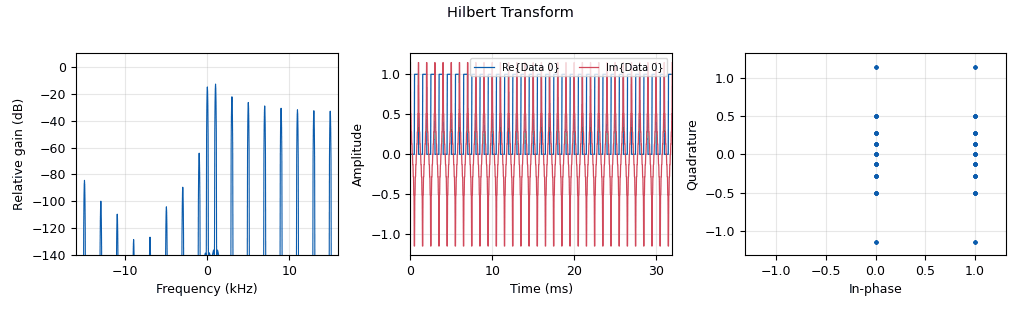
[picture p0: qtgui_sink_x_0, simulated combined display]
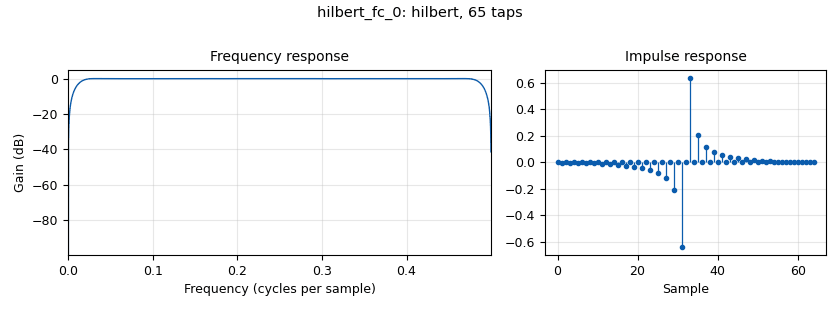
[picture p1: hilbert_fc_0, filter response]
options:
  parameters:
    generate_options: qt_gui
    id: analytic_signal
    output_language: python
    title: Analytic Signal
  states: {}

blocks:
- name: samp_rate
  id: variable
  parameters:
    value: '32000'
  states: {}
- name: waveform
  id: variable_qtgui_chooser
  parameters:
    label: Waveform
    labels: '["Square", "Triangle", "Sawtooth", "Cosine", "Sine", "Constant"]'
    num_opts: '0'
    options: '[0, 1, 2, 3, 4, 5]'
    orient: Qt.QHBoxLayout
    type: int
    value: '0'
    widget: radio_buttons
  states: {}
- name: analog_sig_source_x_0
  id: analog_sig_source_x
  parameters:
    amp: '1'
    freq: '1000'
    offset: '0'
    phase: '0'
    samp_rate: samp_rate
    type: float
    waveform: analog.GR_SQR_WAVE
  states: {}
- name: analog_sig_source_x_0_0
  id: analog_sig_source_x
  parameters:
    amp: '1'
    freq: '1000'
    offset: '0'
    phase: '0'
    samp_rate: samp_rate
    type: float
    waveform: analog.GR_TRI_WAVE
  states: {}
- name: analog_sig_source_x_0_0_0
  id: analog_sig_source_x
  parameters:
    amp: '1'
    freq: '1000'
    offset: '0'
    phase: '0'
    samp_rate: samp_rate
    type: float
    waveform: analog.GR_SAW_WAVE
  states: {}
- name: analog_sig_source_x_0_0_0_0
  id: analog_sig_source_x
  parameters:
    amp: '1'
    freq: '1000'
    offset: '0'
    phase: '0'
    samp_rate: samp_rate
    type: float
    waveform: analog.GR_COS_WAVE
  states: {}
- name: analog_sig_source_x_0_0_0_0_0
  id: analog_sig_source_x
  parameters:
    amp: '1'
    freq: '1000'
    offset: '0'
    phase: '0'
    samp_rate: samp_rate
    type: float
    waveform: analog.GR_CONST_WAVE
  states: {}
- name: analog_sig_source_x_0_0_0_0_0_0
  id: analog_sig_source_x
  parameters:
    amp: '1'
    freq: '1000'
    offset: '0'
    phase: '0'
    samp_rate: samp_rate
    type: float
    waveform: analog.GR_SIN_WAVE
  states: {}
- name: blocks_selector_0
  id: blocks_selector
  parameters:
    enabled: 'True'
    input_index: waveform
    num_inputs: '6'
    num_outputs: '1'
    output_index: '0'
    type: float
  states: {}
- name: blocks_throttle_0
  id: blocks_throttle
  parameters:
    samples_per_second: samp_rate
    type: float
  states: {}
- name: hilbert_fc_0
  id: hilbert_fc
  parameters:
    num_taps: '65'
    win: firdes.WIN_HAMMING
  states: {}
- name: note_0
  id: note
  parameters:
    comment: |-
      http://www.till.com/articles/squares/

      An analytic signal is a real signal that is fed through a hilbert transform.
      The hilbert transform outputs a complex waveform that has the real component as the original signal and imaginary a 90 degree rotated signal.

      For sine and cosine waves, the hilbert transform outputs the sinusoids 90 degree out of phase, meaning:
      cos(t) -> sin(t)
      sin(t) -> cos(t)

      For waveforms that are made out of linear combinations of sine and cosine waves such as the square wave,
      what the hilbert transform does is transform each individual term and then sum them.

      For square waves, this means:
      sin(x) + sin(3x)/3 + sin(5x)/5 ... ->
      cos(x) + cos(3x)/3 + cos(5x/5) ...

      Which is a weird shape that does not look like the original square waves.

      The complex output of signal source only translate the waveform by 90 degrees,
      which is wrong for shapes like square/triangle/sawtooth, hence the need for a hilbert transform.
  states: {}
- name: qtgui_sink_x_0
  id: qtgui_sink_x
  parameters:
    bw: samp_rate
    fc: '0'
    fftsize: '1024'
    name: Hilbert Transform
    type: complex
    wintype: firdes.WIN_BLACKMAN_hARRIS
  states: {}

connections:
- [analog_sig_source_x_0, '0', blocks_selector_0, '0']
- [analog_sig_source_x_0_0, '0', blocks_selector_0, '1']
- [analog_sig_source_x_0_0_0, '0', blocks_selector_0, '2']
- [analog_sig_source_x_0_0_0_0, '0', blocks_selector_0, '3']
- [analog_sig_source_x_0_0_0_0_0, '0', blocks_selector_0, '5']
- [analog_sig_source_x_0_0_0_0_0_0, '0', blocks_selector_0, '4']
- [blocks_selector_0, '0', blocks_throttle_0, '0']
- [blocks_throttle_0, '0', hilbert_fc_0, '0']
- [hilbert_fc_0, '0', qtgui_sink_x_0, '0']

metadata:
  file_format: 1
